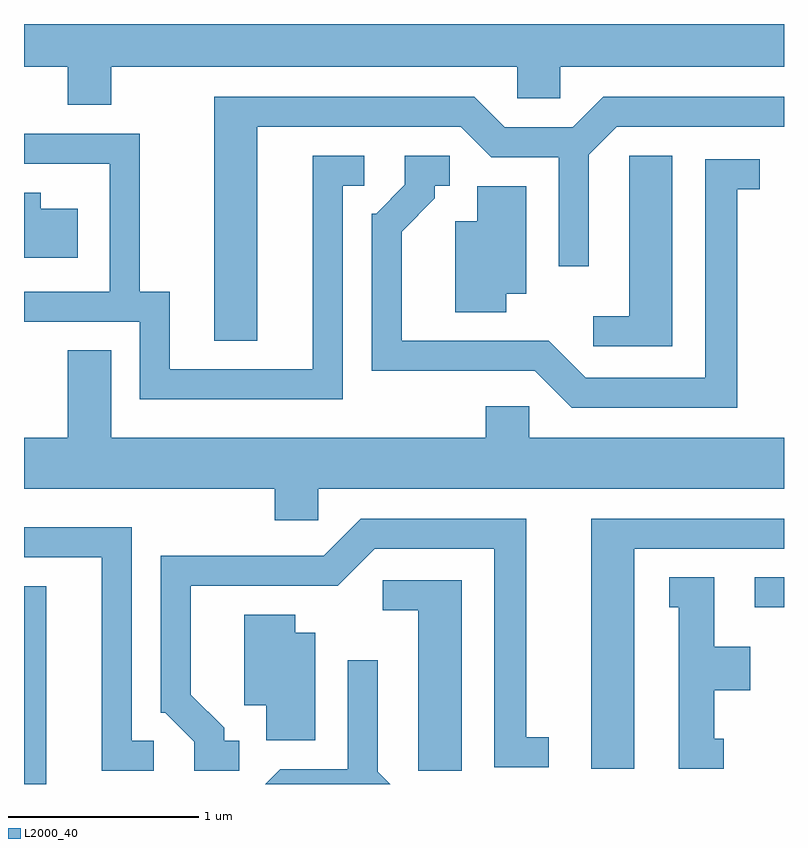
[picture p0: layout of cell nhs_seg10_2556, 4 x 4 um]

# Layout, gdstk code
import gdstk
lib = gdstk.Library(unit=1e-6, precision=1e-09)
def R(c, l, rs):  # rectangles x0, y0, x1, y1
    for r in rs: c.add(gdstk.rectangle(r[:2], r[2:], *l))
def P(c, l, *ps):  # polygons
    for p in ps: c.add(gdstk.Polygon(p, *l))
L2000_40 = (2000, 40)

nhs_seg10_2556 = lib.new_cell('nhs_seg10_2556')
R(nhs_seg10_2556, L2000_40, [(259.611,2174.522,259.729,2175.564), (263.458,2175.451,263.611,2175.609)])
P(nhs_seg10_2556, L2000_40, [(260.069,2178.296),(262.206,2178.296),(262.206,2178.131),(262.434,2178.131),(262.434,2178.296),(263.611,2178.296),(263.611,2178.522),(259.611,2178.522),(259.611,2178.296),(259.841,2178.296),(259.841,2178.096),(260.069,2178.096)],
  [(260.839,2177.981),(261.909,2177.981),(262.069,2177.821),(262.426,2177.821),(262.426,2177.248),(262.584,2177.248),(262.584,2177.834),(262.732,2177.981),(263.611,2177.981),(263.611,2178.139),(262.659,2178.139),(262.499,2177.979),(262.142,2177.979),(261.981,2178.139),(260.611,2178.139),(260.611,2176.856),(260.839,2176.856)],
  [(261.289,2177.671),(261.403,2177.671),(261.403,2177.829),(261.131,2177.829),(261.131,2176.704),(260.379,2176.704),(260.379,2177.114),(260.219,2177.114),(260.219,2177.944),(259.611,2177.944),(259.611,2177.786),(260.061,2177.786),(260.061,2177.114),(259.611,2177.114),(259.611,2176.956),(260.221,2176.956),(260.221,2176.546),(261.289,2176.546)],
  [(263.364,2177.651),(263.483,2177.651),(263.483,2177.809),(263.196,2177.809),(263.196,2176.659),(262.567,2176.659),(262.372,2176.854),(261.599,2176.854),(261.599,2177.429),(261.774,2177.604),(261.774,2177.671),(261.853,2177.671),(261.853,2177.829),(261.616,2177.829),(261.616,2177.677),(261.464,2177.524),(261.441,2177.524),(261.441,2176.696),(262.299,2176.696),(262.494,2176.501),(263.364,2176.501)],
  [(263.024,2177.829),(262.796,2177.829),(262.796,2176.984),(262.608,2176.984),(262.608,2176.826),(263.024,2176.826)],
  [(262.149,2177.101),(262.254,2177.101),(262.254,2177.669),(261.996,2177.669),(261.996,2177.484),(261.881,2177.484),(261.881,2177.006),(262.149,2177.006)],
  [(259.894,2177.549),(259.699,2177.549),(259.699,2177.634),(259.611,2177.634),(259.611,2177.291),(259.894,2177.291)],
  [(261.159,2176.076),(263.611,2176.076),(263.611,2176.344),(262.269,2176.344),(262.269,2176.509),(262.041,2176.509),(262.041,2176.344),(260.069,2176.344),(260.069,2176.804),(259.841,2176.804),(259.841,2176.344),(259.611,2176.344),(259.611,2176.076),(260.931,2176.076),(260.931,2175.911),(261.159,2175.911)],
  [(262.824,2175.761),(263.611,2175.761),(263.611,2175.919),(262.596,2175.919),(262.596,2174.601),(262.824,2174.601)],
  [(260.743,2174.749),(260.664,2174.749),(260.664,2174.817),(260.489,2174.992),(260.489,2175.566),(261.262,2175.566),(261.457,2175.761),(262.086,2175.761),(262.086,2174.611),(262.373,2174.611),(262.373,2174.769),(262.254,2174.769),(262.254,2175.919),(261.384,2175.919),(261.189,2175.724),(260.331,2175.724),(260.331,2174.896),(260.354,2174.896),(260.506,2174.744),(260.506,2174.591),(260.743,2174.591)],
  [(260.293,2174.749),(260.179,2174.749),(260.179,2175.874),(259.611,2175.874),(259.611,2175.716),(260.021,2175.716),(260.021,2174.591),(260.293,2174.591)],
  [(263.293,2174.759),(263.244,2174.759),(263.244,2175.016),(263.434,2175.016),(263.434,2175.244),(263.244,2175.244),(263.244,2175.609),(263.008,2175.609),(263.008,2175.451),(263.056,2175.451),(263.056,2174.601),(263.293,2174.601)],
  [(261.914,2175.594),(261.498,2175.594),(261.498,2175.436),(261.686,2175.436),(261.686,2174.591),(261.914,2174.591)],
  [(261.144,2175.319),(261.039,2175.319),(261.039,2175.414),(260.771,2175.414),(260.771,2174.936),(260.886,2174.936),(260.886,2174.751),(261.144,2174.751)],
  [(261.474,2174.587),(261.474,2175.173),(261.316,2175.173),(261.316,2174.599),(260.959,2174.599),(260.882,2174.522),(261.539,2174.522)])

lib.write_gds('nhs_seg10_2556.gds')
